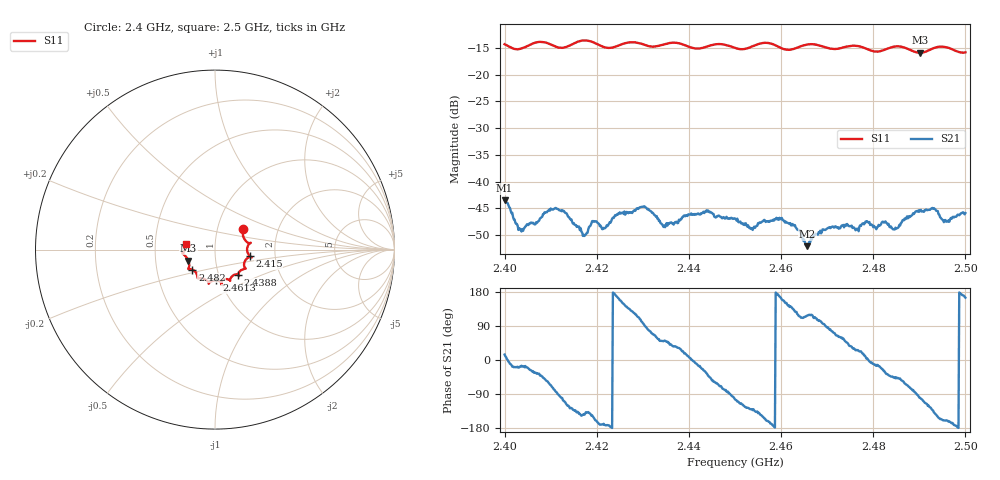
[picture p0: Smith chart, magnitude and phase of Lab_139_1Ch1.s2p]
# Hz S RI R 50
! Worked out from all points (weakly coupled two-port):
!   601 points, 2.4 GHz to 2.5 GHz, reference 50 ohm
!   highest |S21| = -43.53 dB at 2.4 GHz (marker M1); lowest = -52.1 dB at 2.4657 GHz (marker M2)
!   lowest |S11| = -15.9 dB at 2.4902 GHz (marker M3), VSWR 1.38, Z = 36.8 - j4.64 ohm
!   |S11| at or under -10 dB: start of sweep to end of sweep
!   S12 and S22 are empty: the file has one direction only
!   S11 on the Smith chart (normalised r, x): 2.4 GHz: 1.33, +0.31; 2.415 GHz: 1.47, -0.11; 2.4388 GHz: 1.24, -0.36; 2.4613 GHz: 0.96, -0.34; 2.482 GHz: 0.76, -0.17; 2.5 GHz: 0.72, +0.05
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2.4e9  0.1572 0.1122  0.00645 0.00165  0 0  0 0
2.4035e9  0.1662 0.0553  0.00335 -0.00104  0 0  0 0
2.4105e9  0.1862 0.0267  0.00152 -0.00523  0 0  0 0
2.415e9  0.1926 -0.0363  -0.00273 -0.00303  0 0  0 0
2.416667e9  0.2036 -0.0439  -0.00286 -0.00184  0 0  0 0
2.429833e9  0.1611 -0.1084  -0.00105 0.00571  0 0  0 0
2.433333e9  0.1318 -0.1315  0.00258 0.00367  0 0  0 0
2.434833e9  0.1305 -0.1433  0.00236 0.00289  0 0  0 0
2.438833e9  0.1296 -0.1408  0.00446 0.00169  0 0  0 0
2.45e9  0.0686 -0.1647  -0.00107 -0.00437  0 0  0 0
2.4535e9  0.0361 -0.1789  -0.00229 -0.00277  0 0  0 0
2.461333e9  0.00791 -0.1711  -0.00343 0.00227  0 0  0 0
2.465667e9  -0.0346 -0.1887  -0.00113 0.00221  0 0  0 0
2.466667e9  -0.0349 -0.1902  -0.00139 0.00249  0 0  0 0
2.470833e9  -0.0521 -0.1674  0.000784 0.00361  0 0  0 0
2.482e9  -0.1259 -0.1118  0.00384 -0.0017  0 0  0 0
2.483333e9  -0.1397 -0.1088  0.00307 -0.00259  0 0  0 0
2.485e9  -0.1486 -0.109  0.00252 -0.00259  0 0  0 0
2.490167e9  -0.1483 -0.0614  -0.000914 -0.0053  0 0  0 0
2.493167e9  -0.176 -0.0257  -0.0042 -0.00375  0 0  0 0
2.495667e9  -0.1809 -0.0183  -0.00409 -0.00151  0 0  0 0
2.5e9  -0.1589 0.0326  -0.00488 0.00135  0 0  0 0
